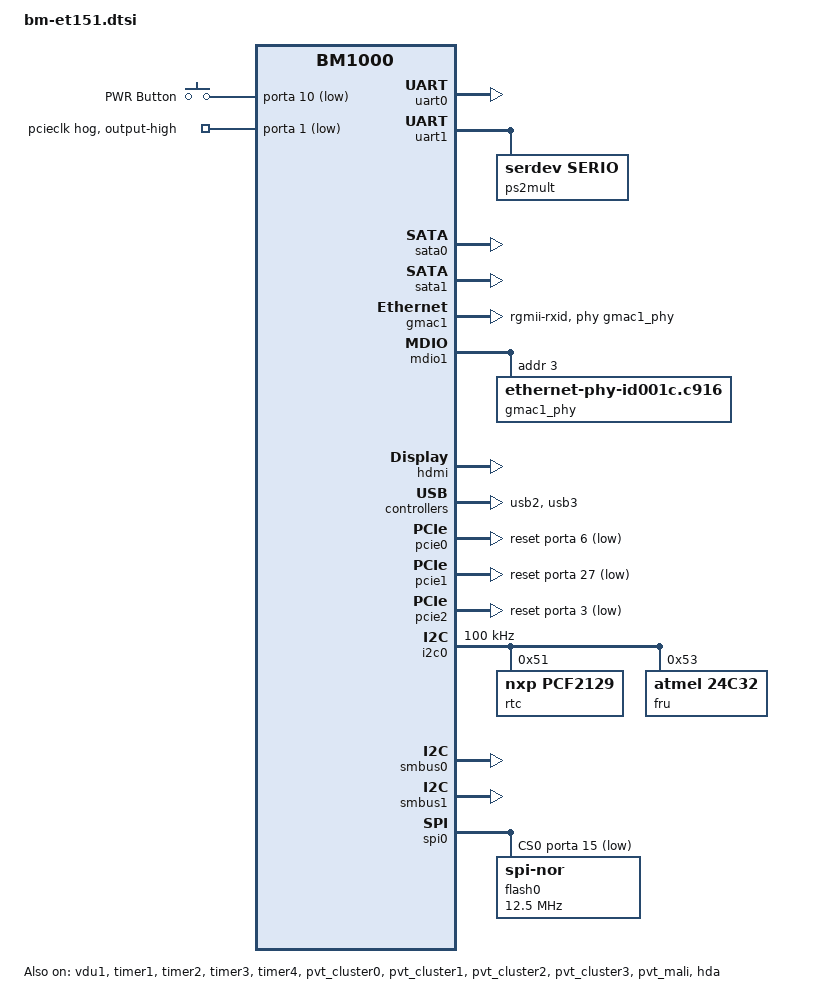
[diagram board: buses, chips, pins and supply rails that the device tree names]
// SPDX-License-Identifier: GPL-2.0
/*
 * Baikal-M ET151 device tree
 */

#include "bm1000.dtsi"
#include <dt-bindings/net/realtek-phy-rtl8211f.h>
#include <dt-bindings/input/gpio-keys.h>
#include <dt-bindings/input/linux-event-codes.h>

/ {

	compatible = "baikal,baikal-m";
	#address-cells = <2>;
	#size-cells = <2>;

	aliases {
		ethernet0 = &gmac1;
		fru = &fru;
		m2-pcie = &pcie0;
	};

	chosen { };

	gpio-keys {
		compatible = "gpio-keys";
		pwr {
			label = "PWR Button";
			linux,code = <116>;
			gpios = <&porta 10 GPIO_ACTIVE_LOW>;
			wakeup-source;
			wakeup-event-action = <EV_ACT_DEASSERTED>;
		};
	};
};

&uart0 {
	status = "okay";
};

&uart1 {
	status = "okay";

	ps2mult {
		compatible = "serdev,serio";
		current-speed = <115200>;
		protocol = <0x3c>; /* SERIO_PS2MULT */
	};
};

&sata0 {
	status = "okay";
};

&sata1 {
	status = "okay";
};

&gmac1 {
	status = "okay";
	snps,reset-gpios = <&porta 20 GPIO_ACTIVE_LOW>;
	snps,reset-delays-us = <10>, <10000>, <50000>;
	clk_csr = <0x3>;
	phy-mode = "rgmii-rxid";
	phy-handle = <&gmac1_phy>;
};

&mdio1 {
	gmac1_phy: ethernet-phy@3 {
		compatible = "ethernet-phy-id001c.c916", "ethernet-phy-ieee802.3-c22";
		reg = <0x3>;
		realtek,led-mode = <RTL8211F_LED_MODE_B>;
		realtek,led0-control = <RTL8211F_LINK10_1000_ACT>;
		realtek,led1-control = <RTL8211F_LINK100_1000>;
	};
};

&hdmi {
	status = "okay";
};

&vdu1 {
	status = "okay";
};

&gpio32 {
	status = "okay";
};

&usb2 {
	status = "okay";
};

&usb3 {
	status = "okay";
};

&pcie0 {
	status = "okay";
	reset-gpios = <&porta 6 GPIO_ACTIVE_LOW>;
};

&pcie1 {
	status = "okay";
	reset-gpios = <&porta 27 GPIO_ACTIVE_LOW>;
};

&pcie2 {
	status = "okay";
	reset-gpios = <&porta 3 GPIO_ACTIVE_LOW>;
};

&timer1 {
	status = "okay";
};

&timer2 {
	status = "okay";
};

&timer3 {
	status = "okay";
};

&timer4 {
	status = "okay";
};

&pvt_cluster0 {
	status = "okay";
};

&pvt_cluster1 {
	status = "okay";
};

&pvt_cluster2 {
	status = "okay";
};

&pvt_cluster3 {
	status = "okay";
};

&pvt_mali {
	status = "okay";
};

&i2c0 {
	status = "okay";
	clock-frequency = <100000>;

	rtc@51 {
		compatible = "nxp,pcf2129", "nxp,pcf2127";
		reg = <0x51>;
	};

	fru: eeprom@53 {
		compatible = "atmel,24c32";
		pagesize = <32>;
		reg = <0x53>;
	};
};

&smbus0 {
	status = "okay";
};

&smbus1 {
	status = "okay";
};

&spi0 {
	num-cs = <4>;

	cs-gpios = <&porta 15 GPIO_ACTIVE_LOW>, <0>;
	status = "okay";
	flash0: flash@0 {
		compatible = "jedec,spi-nor";
		reg = <0>;
		#address-cells = <1>;
		#size-cells = <1>;
		spi-max-frequency = <12500000>;
		status = "okay";

		/* Flash chip0 partitions */
		mtd0@0 {
			label = "bl1";
			reg = <0x00000000 0x00040000>;
			read-only;
		};

		mtd1@40000 {
			label = "fip";
			reg = <0x00040000 0x007c0000>;
		};

		mtd2@800000 {
			label = "rescue";
			reg = <0x00800000 0x01800000>;
		};
	};
};

&porta {
	pcieclk {
		line_name = "pcie-x8-clock";
		gpio-hog;
		gpios = <1 GPIO_ACTIVE_LOW>;
		output-high;
	};
};

&hda {
	status = "okay";
	patch-data = "[codec]\n\
0x111d76d5 0x00000100 0\n\
[model]\n\
et151\n\
[pincfg]\n\
0x0a 0x012b101f\n\
0x0b 0x02014010\n\
0x0c 0x01ab1020\n\
0x0e 0x02a19021\n\
0x0f 0x70819040\n\
0x11 0x70a3014e\n\
0x1f 0x70451160\n\
[verb]\n\
0x0b 0x707 0xc0\n\
0x0b 0x701 0x01\n\
0x0e 0x707 0x20\n\
0x11 0x707 0x00\n\
0x1f 0x707 0x00\n\
0x17 0x701 0x03\n\
0x1b 0x360 0x17\n\
0x1b 0x350 0x17\n\
0x1b 0x361 0x17\n\
0x1b 0x351 0x17\n";
};
